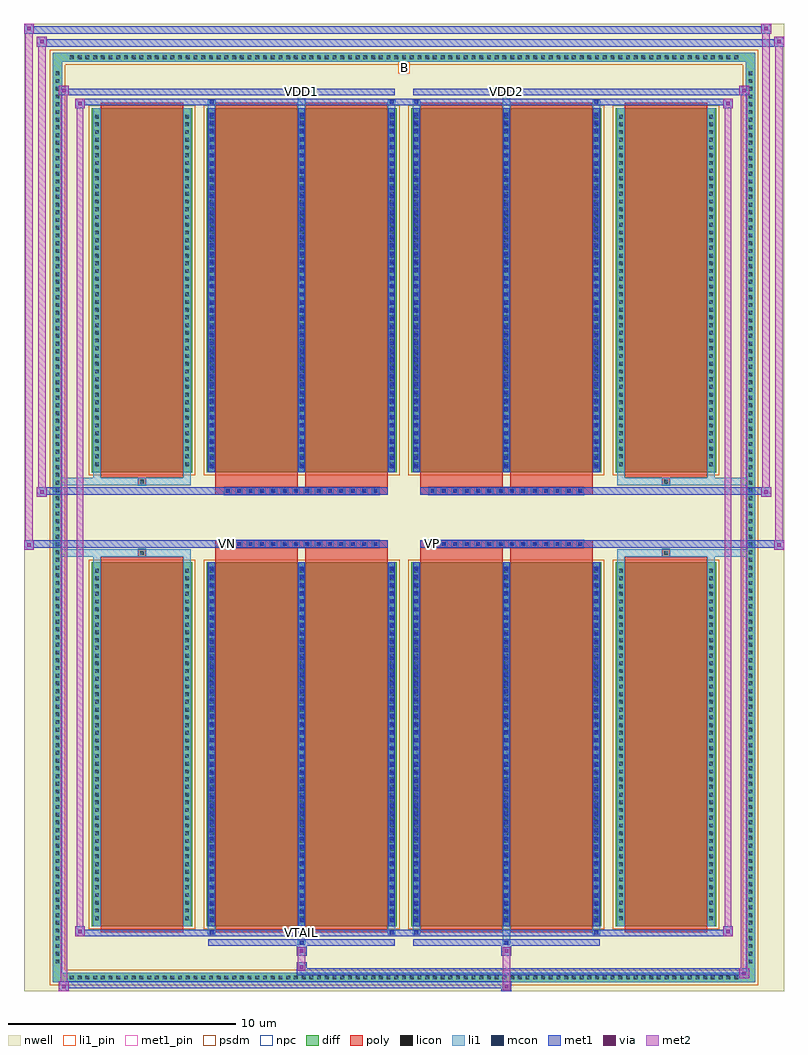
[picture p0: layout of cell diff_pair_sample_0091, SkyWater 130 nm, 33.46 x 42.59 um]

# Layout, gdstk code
import gdstk
lib = gdstk.Library(unit=1e-6, precision=5e-09)
def R(c, l, rs):  # rectangles x0, y0, x1, y1
    for r in rs: c.add(gdstk.rectangle(r[:2], r[2:], *l))
def A(c, l, x, y, w, h, nx, ny, dx, dy):  # array of equal rectangles
    R(c, l, [(x+i*dx, y+j*dy, x+i*dx+w, y+j*dy+h) for i in range(nx) for j in range(ny)])
def P(c, l, *ps):  # polygons
    for p in ps: c.add(gdstk.Polygon(p, *l))
nwell = (64, 20)
diff = (65, 20)
poly = (66, 20)
licon = (66, 44)
li1_pin = (67, 16)
li1 = (67, 20)
mcon = (67, 44)
met1_pin = (68, 16)
met1 = (68, 20)
via = (68, 44)
met2 = (69, 20)
psdm = (94, 20)
npc = (95, 20)

diff_pair_sample_0091 = lib.new_cell('diff_pair_sample_0091')
R(diff_pair_sample_0091, nwell, [(-16.73,-20.86,16.73,21.73), (-14.05,-19.05,-0.01,-0.805), (0.01,-19.05,14.05,-0.805), (-14.05,0.805,-0.01,19.05), (0.01,0.805,14.05,19.05)])
A(diff_pair_sample_0091, diff, -14.825, -20.46, 0.41, 0.41, 87, 2, 0.34, 40.51)
A(diff_pair_sample_0091, diff, -15.46, -19.755, 0.41, 0.41, 1, 116, 0, 0.34)
A(diff_pair_sample_0091, diff, 15.05, -19.755, 0.41, 0.41, 1, 116, 0, 0.34)
R(diff_pair_sample_0091, diff, [(-14.825,-20.46,14.825,-20.05), (-15.46,-19.755,-15.05,19.755), (15.05,-19.755,15.46,19.755), (-13.74,-18.005,-9.33,-1.985), (-8.69,-18.005,-0.32,-1.985), (0.32,-18.005,8.69,-1.985), (9.33,-18.005,13.74,-1.985), (-13.74,1.985,-9.33,18.005), (-8.69,1.985,-0.32,18.005), (0.32,1.985,8.69,18.005), (9.33,1.985,13.74,18.005), (-14.825,20.05,14.825,20.46)])
P(diff_pair_sample_0091, diff, [(15.46,20.46),(-15.46,20.46),(-15.46,-20.05),(-15.05,-20.05),(-15.05,20.05),(15.05,20.05),(15.05,-20.05),(-15.05,-20.05),(-15.46,-20.05),(-15.46,-20.46),(15.46,-20.46)])
A(diff_pair_sample_0091, poly, -7.92, -1.335, 0.33, 0.33, 14, 2, 0.5, 2.34)
A(diff_pair_sample_0091, poly, 1.09, -1.335, 0.33, 0.33, 14, 2, 0.5, 2.34)
R(diff_pair_sample_0091, poly, [(-13.35,-18.255,-9.72,-1.735), (-8.3,-18.255,-4.67,-1.735), (-4.34,-18.255,-0.71,-1.735), (0.71,-18.255,4.34,-1.735), (4.67,-18.255,8.3,-1.735), (9.72,-18.255,13.35,-1.735), (-11.7,-1.735,-11.37,-1.405), (-11.7,-1.735,-11.37,-1.405), (-8.3,-1.735,-4.67,-1.335), (-4.34,-1.735,-0.71,-1.335), (0.71,-1.735,4.34,-1.335), (4.67,-1.735,8.3,-1.335), (11.37,-1.735,11.7,-1.405), (11.37,-1.735,11.7,-1.405), (-8.3,-1.335,-0.71,-1.005), (0.71,-1.335,8.3,-1.005), (-8.3,1.005,-0.71,1.335), (0.71,1.005,8.3,1.335), (-8.3,1.335,-4.67,1.735), (-4.34,1.335,-0.71,1.735), (0.71,1.335,4.34,1.735), (4.67,1.335,8.3,1.735), (-11.7,1.405,-11.37,1.735), (-11.7,1.405,-11.37,1.735), (11.37,1.405,11.7,1.735), (11.37,1.405,11.7,1.735), (-13.35,1.735,-9.72,18.255), (-8.3,1.735,-4.67,18.255), (-4.34,1.735,-0.71,18.255), (0.71,1.735,4.34,18.255), (4.67,1.735,8.3,18.255), (9.72,1.735,13.35,18.255)])
A(diff_pair_sample_0091, licon, -14.705, -20.34, 0.17, 0.17, 87, 2, 0.34, 40.51)
A(diff_pair_sample_0091, licon, -15.34, -19.635, 0.17, 0.17, 1, 116, 0, 0.34)
A(diff_pair_sample_0091, licon, 15.17, -19.635, 0.17, 0.17, 1, 116, 0, 0.34)
A(diff_pair_sample_0091, licon, -13.6, -17.73, 0.17, 0.17, 1, 46, 0, 0.34)
A(diff_pair_sample_0091, licon, -9.64, -17.73, 0.17, 0.17, 1, 46, 0, 0.34)
A(diff_pair_sample_0091, licon, -8.55, -17.73, 0.17, 0.17, 3, 46, 3.96, 0.34)
A(diff_pair_sample_0091, licon, 0.46, -17.73, 0.17, 0.17, 3, 46, 3.96, 0.34)
A(diff_pair_sample_0091, licon, 9.47, -17.73, 0.17, 0.17, 1, 46, 0, 0.34)
A(diff_pair_sample_0091, licon, 13.43, -17.73, 0.17, 0.17, 1, 46, 0, 0.34)
A(diff_pair_sample_0091, licon, -7.84, -1.255, 0.17, 0.17, 14, 2, 0.5, 2.34)
A(diff_pair_sample_0091, licon, 1.17, -1.255, 0.17, 0.17, 14, 2, 0.5, 2.34)
A(diff_pair_sample_0091, licon, -13.6, 2.26, 0.17, 0.17, 1, 46, 0, 0.34)
A(diff_pair_sample_0091, licon, -9.64, 2.26, 0.17, 0.17, 1, 46, 0, 0.34)
A(diff_pair_sample_0091, licon, -8.55, 2.26, 0.17, 0.17, 3, 46, 3.96, 0.34)
A(diff_pair_sample_0091, licon, 0.46, 2.26, 0.17, 0.17, 3, 46, 3.96, 0.34)
A(diff_pair_sample_0091, licon, 9.47, 2.26, 0.17, 0.17, 1, 46, 0, 0.34)
A(diff_pair_sample_0091, licon, 13.43, 2.26, 0.17, 0.17, 1, 46, 0, 0.34)
R(diff_pair_sample_0091, licon, [(-11.62,-1.655,-11.45,-1.485), (11.45,-1.655,11.62,-1.485), (-11.62,1.485,-11.45,1.655), (11.45,1.485,11.62,1.655)])
R(diff_pair_sample_0091, li1_pin, [(-0.25,19.55,0.25,20.05)])
A(diff_pair_sample_0091, li1, -14.785, -20.42, 0.33, 0.33, 87, 2, 0.34, 40.51)
A(diff_pair_sample_0091, li1, -15.42, -19.715, 0.33, 0.33, 1, 116, 0, 0.34)
A(diff_pair_sample_0091, li1, 15.09, -19.715, 0.33, 0.33, 1, 116, 0, 0.34)
A(diff_pair_sample_0091, li1, -8.63, -18.005, 0.33, 16.02, 3, 2, 3.96, 19.99)
A(diff_pair_sample_0091, li1, 0.38, -18.005, 0.33, 16.02, 3, 2, 3.96, 19.99)
A(diff_pair_sample_0091, li1, -8.55, -17.82, 0.17, 0.17, 3, 44, 3.96, 0.36)
A(diff_pair_sample_0091, li1, -8.55, -17.82, 0.17, 15.65, 3, 2, 3.96, 19.99)
A(diff_pair_sample_0091, li1, 0.46, -17.82, 0.17, 0.17, 3, 44, 3.96, 0.36)
A(diff_pair_sample_0091, li1, 0.46, -17.82, 0.17, 15.65, 3, 2, 3.96, 19.99)
A(diff_pair_sample_0091, li1, -13.68, -17.81, 0.33, 0.33, 1, 46, 0, 0.34)
A(diff_pair_sample_0091, li1, -9.72, -17.81, 0.33, 0.33, 1, 46, 0, 0.34)
A(diff_pair_sample_0091, li1, -8.63, -17.81, 0.33, 0.33, 3, 46, 3.96, 0.34)
A(diff_pair_sample_0091, li1, 0.38, -17.81, 0.33, 0.33, 3, 46, 3.96, 0.34)
A(diff_pair_sample_0091, li1, 9.39, -17.81, 0.33, 0.33, 1, 46, 0, 0.34)
A(diff_pair_sample_0091, li1, 13.35, -17.81, 0.33, 0.33, 1, 46, 0, 0.34)
A(diff_pair_sample_0091, li1, -7.92, -1.335, 0.33, 0.33, 14, 2, 0.5, 2.34)
A(diff_pair_sample_0091, li1, 1.09, -1.335, 0.33, 0.33, 14, 2, 0.5, 2.34)
A(diff_pair_sample_0091, li1, -8.55, 2.17, 0.17, 0.17, 3, 44, 3.96, 0.36)
A(diff_pair_sample_0091, li1, 0.46, 2.17, 0.17, 0.17, 3, 44, 3.96, 0.36)
A(diff_pair_sample_0091, li1, -13.68, 2.18, 0.33, 0.33, 1, 46, 0, 0.34)
A(diff_pair_sample_0091, li1, -9.72, 2.18, 0.33, 0.33, 1, 46, 0, 0.34)
A(diff_pair_sample_0091, li1, -8.63, 2.18, 0.33, 0.33, 3, 46, 3.96, 0.34)
A(diff_pair_sample_0091, li1, 0.38, 2.18, 0.33, 0.33, 3, 46, 3.96, 0.34)
A(diff_pair_sample_0091, li1, 9.39, 2.18, 0.33, 0.33, 1, 46, 0, 0.34)
A(diff_pair_sample_0091, li1, 13.35, 2.18, 0.33, 0.33, 1, 46, 0, 0.34)
R(diff_pair_sample_0091, li1, [(-15.46,-20.46,-15.05,-20.05), (-15.46,-20.46,-15.05,-20.05), (-15.05,-20.46,15.05,-20.05), (15.05,-20.46,15.46,-20.05), (15.05,-20.46,15.46,-20.05), (-15.46,-20.05,-15.05,20.05), (15.05,-20.05,15.46,20.05), (-4.67,-18.81,-4.34,-18.005), (-4.59,-18.81,-4.42,-18.64), (4.34,-18.81,4.67,-18.005), (4.42,-18.81,4.59,-18.64), (-8.63,-18.38,-8.3,-18.005), (-8.55,-18.38,-8.38,-18.21), (-0.71,-18.38,-0.38,-18.005), (-0.63,-18.38,-0.46,-18.21), (0.38,-18.38,0.71,-18.005), (0.46,-18.38,0.63,-18.21), (8.3,-18.38,8.63,-18.005), (8.38,-18.38,8.55,-18.21), (-13.68,-18.005,-13.35,-1.985), (-9.72,-18.005,-9.39,-1.985), (9.39,-18.005,9.72,-1.985), (13.35,-18.005,13.68,-1.985), (-13.68,-1.985,-13.35,-1.405), (-9.72,-1.985,-9.39,-1.405), (9.39,-1.985,9.72,-1.405), (13.35,-1.985,13.68,-1.405), (-15.46,-1.735,-11.7,-1.405), (-13.68,-1.735,-11.7,-1.405), (-11.7,-1.735,-11.37,-1.405), (-11.37,-1.735,-9.39,-1.405), (9.39,-1.735,11.37,-1.405), (11.37,-1.735,11.7,-1.405), (11.37,-1.735,15.46,-1.405), (11.7,-1.735,13.68,-1.405), (-15.46,1.405,-11.7,1.735), (-13.68,1.405,-11.7,1.735), (-13.68,1.405,-13.35,1.985), (-11.7,1.405,-11.37,1.735), (-11.37,1.405,-9.39,1.735), (-9.72,1.405,-9.39,1.985), (9.39,1.405,11.37,1.735), (9.39,1.405,9.72,1.985), (11.37,1.405,11.7,1.735), (11.37,1.405,15.46,1.735), (11.7,1.405,13.68,1.735), (13.35,1.405,13.68,1.985), (-13.68,1.985,-13.35,18.005), (-9.72,1.985,-9.39,18.005), (9.39,1.985,9.72,18.005), (13.35,1.985,13.68,18.005), (-8.63,18.005,-8.3,18.38), (-4.67,18.005,-4.34,18.81), (-0.71,18.005,-0.38,18.38), (0.38,18.005,0.71,18.38), (4.34,18.005,4.67,18.81), (8.3,18.005,8.63,18.38), (-8.55,18.21,-8.38,18.38), (-0.63,18.21,-0.46,18.38), (0.46,18.21,0.63,18.38), (8.38,18.21,8.55,18.38), (-4.59,18.64,-4.42,18.81), (4.42,18.64,4.59,18.81), (-15.46,20.05,-15.05,20.46), (-15.46,20.05,-15.05,20.46), (-15.05,20.05,15.05,20.46), (15.05,20.05,15.46,20.46), (15.05,20.05,15.46,20.46)])
A(diff_pair_sample_0091, mcon, -8.55, -17.82, 0.17, 0.17, 3, 44, 3.96, 0.36)
A(diff_pair_sample_0091, mcon, 0.46, -17.82, 0.17, 0.17, 3, 44, 3.96, 0.36)
A(diff_pair_sample_0091, mcon, -7.84, -1.255, 0.17, 0.17, 14, 2, 0.5, 2.34)
A(diff_pair_sample_0091, mcon, 1.17, -1.255, 0.17, 0.17, 14, 2, 0.5, 2.34)
A(diff_pair_sample_0091, mcon, -8.55, 2.17, 0.17, 0.17, 3, 44, 3.96, 0.36)
A(diff_pair_sample_0091, mcon, 0.46, 2.17, 0.17, 0.17, 3, 44, 3.96, 0.36)
R(diff_pair_sample_0091, mcon, [(-4.59,-18.81,-4.42,-18.64), (4.42,-18.81,4.59,-18.64), (-8.55,-18.38,-8.38,-18.21), (-0.63,-18.38,-0.46,-18.21), (0.46,-18.38,0.63,-18.21), (8.38,-18.38,8.55,-18.21), (-8.55,18.21,-8.38,18.38), (-0.63,18.21,-0.46,18.38), (0.46,18.21,0.63,18.38), (8.38,18.21,8.55,18.38), (-4.59,18.64,-4.42,18.81), (4.42,18.64,4.59,18.81)])
R(diff_pair_sample_0091, met1_pin, [(-4.64,-18.42,-4.37,-18.15), (-7.89,-1.295,-7.62,-1.025), (1.12,-1.295,1.39,-1.025), (-4.64,18.6,-4.37,18.87), (4.37,18.6,4.64,18.87)])
A(diff_pair_sample_0091, met1, -8.61, -18.005, 0.29, 16.02, 3, 2, 3.96, 19.99)
A(diff_pair_sample_0091, met1, 0.4, -18.005, 0.29, 16.02, 3, 2, 3.96, 19.99)
A(diff_pair_sample_0091, met1, -8.61, -17.88, 0.29, 0.29, 3, 44, 3.96, 0.36)
A(diff_pair_sample_0091, met1, 0.4, -17.88, 0.29, 0.29, 3, 44, 3.96, 0.36)
A(diff_pair_sample_0091, met1, -7.9, -1.315, 0.29, 0.29, 14, 2, 0.5, 2.34)
A(diff_pair_sample_0091, met1, 1.11, -1.315, 0.29, 0.29, 14, 2, 0.5, 2.34)
A(diff_pair_sample_0091, met1, -8.61, 2.11, 0.29, 0.29, 3, 44, 3.96, 0.36)
A(diff_pair_sample_0091, met1, 0.4, 2.11, 0.29, 0.29, 3, 44, 3.96, 0.36)
R(diff_pair_sample_0091, met1, [(-15.19,-20.86,-14.76,-20.43), (4.29,-20.86,4.72,-20.43), (-15.19,-20.72,4.72,-20.43), (14.76,-20.29,15.19,-19.86), (-4.72,-20.15,15.19,-19.86), (-4.72,-20.01,-4.29,-19.58), (-4.72,-19.3,-4.29,-18.87), (4.29,-19.3,4.72,-18.87), (-8.61,-18.87,-0.4,-18.58), (-4.65,-18.87,-4.36,-18.58), (0.4,-18.87,8.61,-18.58), (4.36,-18.87,4.65,-18.58), (-14.48,-18.44,-14.05,-18.01), (-14.48,-18.44,-8.61,-18.15), (-8.61,-18.44,-8.32,-18.15), (-8.61,-18.44,-0.4,-18.15), (-0.69,-18.44,-0.4,-18.15), (-0.4,-18.44,0.4,-18.15), (0.4,-18.44,0.69,-18.15), (0.4,-18.44,8.61,-18.15), (8.32,-18.44,8.61,-18.15), (8.61,-18.44,14.48,-18.15), (14.05,-18.44,14.48,-18.01), (-16.73,-1.435,-16.3,-1.005), (16.3,-1.435,16.73,-1.005), (-16.73,-1.335,-0.71,-1.005), (-8.3,-1.335,-0.71,-1.005), (0.71,-1.335,8.3,-1.005), (0.71,-1.335,16.73,-1.005), (-16.16,0.905,-15.73,1.335), (15.73,0.905,16.16,1.335), (-16.16,1.005,-8.3,1.335), (-8.3,1.005,-0.71,1.335), (0.71,1.005,8.3,1.335), (8.3,1.005,16.16,1.335), (-14.48,18.01,-14.05,18.44), (14.05,18.01,14.48,18.44), (-14.48,18.15,-8.61,18.44), (-8.61,18.15,-8.32,18.44), (-8.61,18.15,-0.4,18.44), (-0.69,18.15,-0.4,18.44), (-0.4,18.15,0.4,18.44), (0.4,18.15,0.69,18.44), (0.4,18.15,8.61,18.44), (8.32,18.15,8.61,18.44), (8.61,18.15,14.48,18.44), (-15.19,18.58,-14.76,19.01), (-15.19,18.58,-8.61,18.87), (-8.61,18.58,-0.4,18.87), (-4.65,18.58,-4.36,18.87), (0.4,18.58,8.61,18.87), (4.36,18.58,4.65,18.87), (8.61,18.58,15.19,18.87), (14.76,18.58,15.19,19.01), (-16.16,20.73,-15.73,21.16), (-16.16,20.73,-14.05,21.06), (-14.05,20.73,14.05,21.06), (14.05,20.73,16.73,21.06), (16.3,20.73,16.73,21.16), (-16.73,21.3,-16.3,21.73), (-16.73,21.3,-14.05,21.63), (-14.05,21.3,14.05,21.63), (14.05,21.3,16.16,21.63), (15.73,21.3,16.16,21.73)])
R(diff_pair_sample_0091, via, [(-15.05,-20.72,-14.9,-20.57), (4.43,-20.72,4.58,-20.57), (14.9,-20.15,15.05,-20), (-4.58,-19.87,-4.43,-19.72), (-4.58,-19.16,-4.43,-19.01), (4.43,-19.16,4.58,-19.01), (-14.34,-18.3,-14.19,-18.15), (14.19,-18.3,14.34,-18.15), (-16.59,-1.295,-16.44,-1.145), (16.44,-1.295,16.59,-1.145), (-16.02,1.045,-15.87,1.195), (15.87,1.045,16.02,1.195), (-14.34,18.15,-14.19,18.3), (14.19,18.15,14.34,18.3), (-15.05,18.72,-14.9,18.87), (14.9,18.72,15.05,18.87), (-16.02,20.87,-15.87,21.02), (16.44,20.87,16.59,21.02), (-16.59,21.44,-16.44,21.59), (15.87,21.44,16.02,21.59)])
R(diff_pair_sample_0091, met2, [(-15.19,-20.86,-14.76,-20.43), (-15.12,-20.86,-14.83,19.01), (-14.83,-20.86,-14.76,-20.43), (-15.14,-20.81,-14.81,-20.48), (4.34,-20.81,4.67,-20.48), (4.34,-20.48,4.67,-19.25), (14.76,-20.29,15.19,-19.86), (14.83,-20.29,15.12,19.01), (15.12,-20.29,15.19,-19.86), (14.81,-20.24,15.14,-19.91), (-4.67,-19.96,-4.34,-19.63), (-4.67,-19.63,-4.34,-19.25), (-4.67,-19.25,-4.34,-18.92), (4.34,-19.25,4.67,-18.92), (-14.48,-18.44,-14.05,-18.01), (-14.41,-18.44,-14.12,18.44), (-14.12,-18.44,-14.05,-18.01), (14.05,-18.44,14.48,-18.01), (14.12,-18.44,14.41,18.44), (14.41,-18.44,14.48,-18.01), (-14.43,-18.39,-14.1,-18.06), (14.1,-18.39,14.43,-18.06), (-16.73,-1.435,-16.3,-1.005), (-16.68,-1.435,-16.35,21.73), (-16.35,-1.435,-16.3,-1.005), (16.3,-1.435,16.73,-1.005), (16.35,-1.435,16.68,21.16), (16.68,-1.435,16.73,-1.005), (-16.68,-1.385,-16.35,-1.055), (16.35,-1.385,16.68,-1.055), (-16.16,0.905,-15.73,1.335), (-16.11,0.905,-15.78,21.16), (-15.78,0.905,-15.73,1.335), (15.73,0.905,16.16,1.335), (15.78,0.905,16.11,21.73), (16.11,0.905,16.16,1.335), (-16.11,0.955,-15.78,1.285), (15.78,0.955,16.11,1.285), (-14.48,18.01,-14.05,18.44), (-14.12,18.01,-14.05,18.44), (14.05,18.01,14.48,18.44), (14.41,18.01,14.48,18.44), (-14.43,18.06,-14.1,18.39), (14.1,18.06,14.43,18.39), (-15.19,18.58,-14.76,19.01), (-14.83,18.58,-14.76,19.01), (14.76,18.58,15.19,19.01), (15.12,18.58,15.19,19.01), (-15.14,18.63,-14.81,18.96), (14.81,18.63,15.14,18.96), (-16.16,20.73,-15.73,21.16), (-15.78,20.73,-15.73,21.16), (16.3,20.73,16.73,21.16), (16.68,20.73,16.73,21.16), (-16.11,20.78,-15.78,21.11), (16.35,20.78,16.68,21.11), (-16.73,21.3,-16.3,21.73), (-16.35,21.3,-16.3,21.73), (15.73,21.3,16.16,21.73), (16.11,21.3,16.16,21.73), (-16.68,21.35,-16.35,21.68), (15.78,21.35,16.11,21.68)])
R(diff_pair_sample_0091, psdm, [(-13.87,-18.135,-9.2,-1.855), (-8.82,-18.135,-0.19,-1.855), (0.19,-18.135,8.82,-1.855), (9.2,-18.135,13.87,-1.855), (-13.87,1.855,-9.2,18.135), (-8.82,1.855,-0.19,18.135), (0.19,1.855,8.82,18.135), (9.2,1.855,13.87,18.135)])
P(diff_pair_sample_0091, psdm, [(15.59,20.59),(-15.59,20.59),(-15.59,-19.92),(-14.92,-19.92),(-14.92,19.92),(14.92,19.92),(14.92,-19.92),(-14.92,-19.92),(-15.59,-19.92),(-15.59,-20.59),(15.59,-20.59)])
A(diff_pair_sample_0091, npc, -7.94, -1.355, 0.37, 0.37, 14, 2, 0.5, 2.34)
A(diff_pair_sample_0091, npc, 1.07, -1.355, 0.37, 0.37, 14, 2, 0.5, 2.34)
R(diff_pair_sample_0091, npc, [(-11.72,-1.755,-11.35,-1.385), (11.35,-1.755,11.72,-1.385), (-7.94,-1.355,-7.07,-0.985), (-7.94,-1.355,-7.07,-0.985), (-7.44,-1.355,-6.57,-0.985), (-7.44,-1.355,-6.57,-0.985), (-6.94,-1.355,-6.07,-0.985), (-6.94,-1.355,-6.07,-0.985), (-6.44,-1.355,-5.57,-0.985), (-6.44,-1.355,-5.57,-0.985), (-5.94,-1.355,-5.07,-0.985), (-5.94,-1.355,-5.07,-0.985), (-5.44,-1.355,-4.57,-0.985), (-5.44,-1.355,-4.57,-0.985), (-4.94,-1.355,-4.07,-0.985), (-4.94,-1.355,-4.07,-0.985), (-4.44,-1.355,-3.57,-0.985), (-4.44,-1.355,-3.57,-0.985), (-3.94,-1.355,-3.07,-0.985), (-3.94,-1.355,-3.07,-0.985), (-3.44,-1.355,-2.57,-0.985), (-3.44,-1.355,-2.57,-0.985), (-2.94,-1.355,-2.07,-0.985), (-2.94,-1.355,-2.07,-0.985), (-2.44,-1.355,-1.57,-0.985), (-2.44,-1.355,-1.57,-0.985), (-1.94,-1.355,-1.07,-0.985), (-1.94,-1.355,-1.07,-0.985), (1.07,-1.355,1.94,-0.985), (1.07,-1.355,1.94,-0.985), (1.57,-1.355,2.44,-0.985), (1.57,-1.355,2.44,-0.985), (2.07,-1.355,2.94,-0.985), (2.07,-1.355,2.94,-0.985), (2.57,-1.355,3.44,-0.985), (2.57,-1.355,3.44,-0.985), (3.07,-1.355,3.94,-0.985), (3.07,-1.355,3.94,-0.985), (3.57,-1.355,4.44,-0.985), (3.57,-1.355,4.44,-0.985), (4.07,-1.355,4.94,-0.985), (4.07,-1.355,4.94,-0.985), (4.57,-1.355,5.44,-0.985), (4.57,-1.355,5.44,-0.985), (5.07,-1.355,5.94,-0.985), (5.07,-1.355,5.94,-0.985), (5.57,-1.355,6.44,-0.985), (5.57,-1.355,6.44,-0.985), (6.07,-1.355,6.94,-0.985), (6.07,-1.355,6.94,-0.985), (6.57,-1.355,7.44,-0.985), (6.57,-1.355,7.44,-0.985), (7.07,-1.355,7.94,-0.985), (7.07,-1.355,7.94,-0.985), (-7.94,0.985,-7.07,1.355), (-7.94,0.985,-7.07,1.355), (-7.44,0.985,-6.57,1.355), (-7.44,0.985,-6.57,1.355), (-6.94,0.985,-6.07,1.355), (-6.94,0.985,-6.07,1.355), (-6.44,0.985,-5.57,1.355), (-6.44,0.985,-5.57,1.355), (-5.94,0.985,-5.07,1.355), (-5.94,0.985,-5.07,1.355), (-5.44,0.985,-4.57,1.355), (-5.44,0.985,-4.57,1.355), (-4.94,0.985,-4.07,1.355), (-4.94,0.985,-4.07,1.355), (-4.44,0.985,-3.57,1.355), (-4.44,0.985,-3.57,1.355), (-3.94,0.985,-3.07,1.355), (-3.94,0.985,-3.07,1.355), (-3.44,0.985,-2.57,1.355), (-3.44,0.985,-2.57,1.355), (-2.94,0.985,-2.07,1.355), (-2.94,0.985,-2.07,1.355), (-2.44,0.985,-1.57,1.355), (-2.44,0.985,-1.57,1.355), (-1.94,0.985,-1.07,1.355), (-1.94,0.985,-1.07,1.355), (1.07,0.985,1.94,1.355), (1.07,0.985,1.94,1.355), (1.57,0.985,2.44,1.355), (1.57,0.985,2.44,1.355), (2.07,0.985,2.94,1.355), (2.07,0.985,2.94,1.355), (2.57,0.985,3.44,1.355), (2.57,0.985,3.44,1.355), (3.07,0.985,3.94,1.355), (3.07,0.985,3.94,1.355), (3.57,0.985,4.44,1.355), (3.57,0.985,4.44,1.355), (4.07,0.985,4.94,1.355), (4.07,0.985,4.94,1.355), (4.57,0.985,5.44,1.355), (4.57,0.985,5.44,1.355), (5.07,0.985,5.94,1.355), (5.07,0.985,5.94,1.355), (5.57,0.985,6.44,1.355), (5.57,0.985,6.44,1.355), (6.07,0.985,6.94,1.355), (6.07,0.985,6.94,1.355), (6.57,0.985,7.44,1.355), (6.57,0.985,7.44,1.355), (7.07,0.985,7.94,1.355), (7.07,0.985,7.94,1.355), (-11.72,1.385,-11.35,1.755), (11.35,1.385,11.72,1.755)])
diff_pair_sample_0091.add(gdstk.Label('VTAIL', (-4.505,-18.285), layer=68, texttype=5))
diff_pair_sample_0091.add(gdstk.Label('VN', (-7.755,-1.16), layer=68, texttype=5))
diff_pair_sample_0091.add(gdstk.Label('VP', (1.255,-1.16), layer=68, texttype=5))
diff_pair_sample_0091.add(gdstk.Label('B', (0,19.8), layer=67, texttype=5))
diff_pair_sample_0091.add(gdstk.Label('VDD2', (4.505,18.735), layer=68, texttype=5))
diff_pair_sample_0091.add(gdstk.Label('VDD1', (-4.505,18.735), layer=68, texttype=5))

lib.write_gds('diff_pair_sample_0091.gds')
